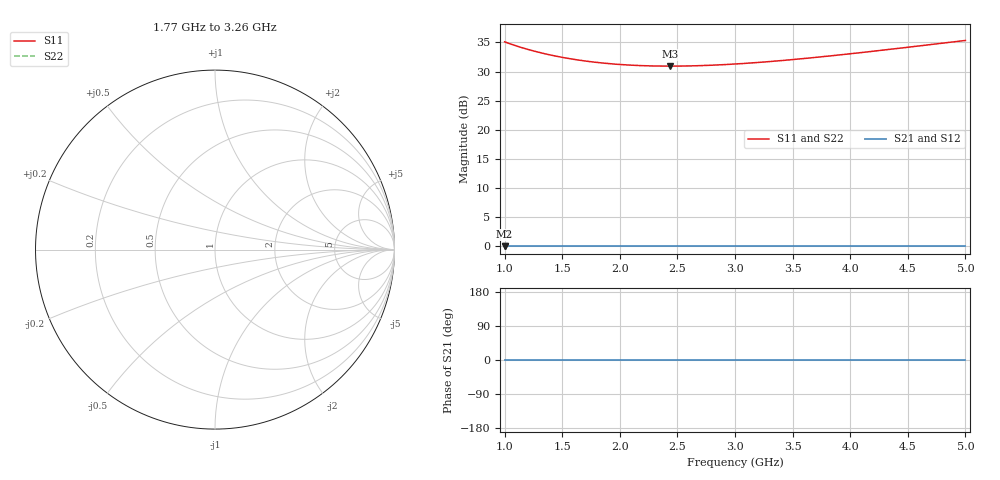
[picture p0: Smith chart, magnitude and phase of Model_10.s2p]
# GHZ S RI R 50
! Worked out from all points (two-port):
!   401 points, 1 GHz to 5 GHz, reference 50 ohm
!   highest |S21| = 0.00 dB at 1 GHz (marker M1); lowest = 0.0 dB at 1 GHz (marker M2)
!   |S21| within 3 dB of the highest: start of sweep to end of sweep
!   lowest |S11| = 30.9 dB at 2.44 GHz (marker M3)
!   |S11| at or under -10 dB: nowhere
!   |S22| runs from 30.9 to 35.3 dB; largest |S21 - S12| = 0
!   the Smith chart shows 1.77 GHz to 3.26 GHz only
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1  56.91 0  1 0  1 0  56.91 0
1.02  55.96 0  1 0  1 0  55.96 0
1.15  50.72 0  1 0  1 0  50.72 0
1.22  48.43 0  1 0  1 0  48.43 0
1.3  46.18 0  1 0  1 0  46.18 0
1.38  44.25 0  1 0  1 0  44.25 0
1.47  42.41 0  1 0  1 0  42.41 0
1.57  40.71 0  1 0  1 0  40.71 0
1.67  39.32 0  1 0  1 0  39.32 0
1.82  37.7 0  1 0  1 0  37.7 0
1.98  36.49 0  1 0  1 0  36.49 0
2.15  35.67 0  1 0  1 0  35.67 0
2.34  35.25 0  1 0  1 0  35.25 0
2.44  35.2 0  1 0  1 0  35.2 0
2.71  35.57 0  1 0  1 0  35.57 0
3  36.7 0  1 0  1 0  36.7 0
3.33  38.73 0  1 0  1 0  38.73 0
3.67  41.56 0  1 0  1 0  41.56 0
4  44.94 0  1 0  1 0  44.94 0
4.34  49.01 0  1 0  1 0  49.01 0
4.64  53.07 0  1 0  1 0  53.07 0
5  58.49 0  1 0  1 0  58.49 0
